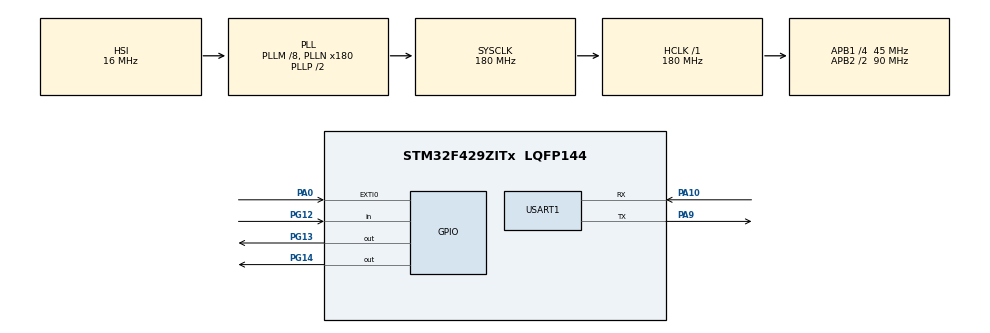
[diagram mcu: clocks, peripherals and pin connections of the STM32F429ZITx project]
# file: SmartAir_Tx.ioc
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FREERTOS.BinarySemaphores01=myBinarySem01,Dynamic,NULL,Available
FREERTOS.Mutexes01=myMutex01,Dynamic,NULL,Available
FREERTOS.Tasks01=defaultTask,0,128,StartDefaultTask,Default,NULL,Dynamic,NULL,NULL
FREERTOS.Timers01=myTimer01,Callback01,osTimerPeriodic,Default,NULL,Dynamic,NULL
FREERTOS.configUSE_NEWLIB_REENTRANT=1
FREERTOS.configUSE_TIMERS=1
Mcu.Family=STM32F4
Mcu.Name=STM32F429ZITx
Mcu.Package=LQFP144
NVIC.EXTI0_IRQn=true\:5\:0\:false\:false\:true\:true\:true\:true\:true
NVIC.PriorityGroup=NVIC_PRIORITYGROUP_4
PA0/WKUP.GPIO_PuPd=GPIO_PULLDOWN
PA0/WKUP.Signal=GPXTI0
PA10.Mode=Asynchronous
PA10.Signal=USART1_RX
PA9.Mode=Asynchronous
PA9.Signal=USART1_TX
PG12.Signal=GPIO_Input
PG13.Signal=GPIO_Output
PG14.Signal=GPIO_Output
ProjectManager.HeapSize=0x200
ProjectManager.StackSize=0x400
ProjectManager.TargetToolchain=STM32CubeIDE
RCC.48MHZClocksFreq_Value=90000000
RCC.AHBFreq_Value=180000000
RCC.APB1CLKDivider=RCC_HCLK_DIV4
RCC.APB1Freq_Value=45000000
RCC.APB1TimFreq_Value=90000000
RCC.APB2CLKDivider=RCC_HCLK_DIV2
RCC.APB2Freq_Value=90000000
RCC.APB2TimFreq_Value=180000000
RCC.CortexFreq_Value=180000000
RCC.HCLKFreq_Value=180000000
RCC.HSE_VALUE=25000000
RCC.HSI_VALUE=16000000
RCC.LSE_VALUE=32768
RCC.PLLM=8
RCC.PLLN=180
RCC.SYSCLKFreq_VALUE=180000000
RCC.SYSCLKSource=RCC_SYSCLKSOURCE_PLLCLK
RCC.VCOOutputFreq_Value=360000000
USART1.VirtualMode=VM_ASYNC
VP_FREERTOS_VS_CMSIS_V1.Mode=CMSIS_V1
board=custom

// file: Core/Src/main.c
/* USER CODE BEGIN Header */
/**
  ******************************************************************************
  * @file           : main.c
  * @brief          : Main program body
  ******************************************************************************
  * @attention
  *
  * Copyright (c) 2026 STMicroelectronics.
  * All rights reserved.
  *
  * This software is licensed under terms that can be found in the LICENSE file
  * in the root directory of this software component.
  * If no LICENSE file comes with this software, it is provided AS-IS.
  *
  ******************************************************************************
  */
/* USER CODE END Header */
#include "main.h"
#include "cmsis_os.h"

/* USER CODE BEGIN Includes */
#include<stdio.h>
#include<string.h>
#include "dht11.h"
/* USER CODE END Includes */

UART_HandleTypeDef huart1;

//osThreadId defaultTaskHandle;
//osTimerId myTimer01Handle;
//osMutexId myMutex01Handle;
//osSemaphoreId myBinarySem01Handle;
/* USER CODE BEGIN PV */
QueueHandle_t QueueHandle;

/* USER CODE END PV */

void SystemClock_Config(void);
static void MX_GPIO_Init(void);
static void MX_USART1_UART_Init(void);
void StartDefaultTask(void const * argument);
void Callback01(void const * argument);

void TimerTask(TimerHandle_t xTimer);
/* USER CODE BEGIN PFP */
void SensorTask(void *arg);
void PrintTask(void *arg);

SemaphoreHandle_t UART_Mutex;
SemaphoreHandle_t Timer_Sem;
TimerHandle_t TimerHandle;

/* USER CODE END PFP */

/* USER CODE BEGIN 0 */
int _write(int file, char *ptr, int len)
{
	HAL_UART_Transmit(&huart1,(uint8_t *)ptr,(uint16_t)len,HAL_MAX_DELAY);
	return len;
}

/* USER CODE END 0 */

int main(void)
{

  /* MCU Configuration--------------------------------------------------------*/

  /* Reset of all peripherals, Initializes the Flash interface and the Systick. */
  HAL_Init();

  /* Configure the system clock */
  SystemClock_Config();

  /* Initialize all configured peripherals */
  MX_GPIO_Init();
  MX_USART1_UART_Init();
  /* USER CODE BEGIN 2 */
  DWT_Delay_Init();

  TaskHandle_t SensorTaskHandle;
  TaskHandle_t PrintTaskHandle;

  QueueHandle = xQueueCreate(2,sizeof(uint8_t));

  xTaskCreate(SensorTask,"SensorTask",128,NULL,2,&SensorTaskHandle);
  xTaskCreate(PrintTask,"PrintTask",128,NULL,1,&PrintTaskHandle);

  UART_Mutex=xSemaphoreCreateMutex();
  Timer_Sem=xSemaphoreCreateBinary();
  TimerHandle=xTimerCreate("TimerTask", pdMS_TO_TICKS(3000), pdTRUE, 0, TimerTask);

  xTimerStart(TimerHandle,0);
  vTaskStartScheduler();

  /* USER CODE END 2 */

//  /* Create the mutex(es) */
//  /* definition and creation of myMutex01 */
//  osMutexDef(myMutex01);
//  myMutex01Handle = osMutexCreate(osMutex(myMutex01));
//
//  /* USER CODE BEGIN RTOS_MUTEX */
//  /* add mutexes, ... */
//  /* USER CODE END RTOS_MUTEX */
//
//  /* Create the semaphores(s) */
//  /* definition and creation of myBinarySem01 */
//  osSemaphoreDef(myBinarySem01);
//  myBinarySem01Handle = osSemaphoreCreate(osSemaphore(myBinarySem01), 1);
//
//  /* USER CODE BEGIN RTOS_SEMAPHORES */
//  /* add semaphores, ... */
//  /* USER CODE END RTOS_SEMAPHORES */
//
//  /* Create the timer(s) */
//  /* definition and creation of myTimer01 */
//  osTimerDef(myTimer01, Callback01);
//  myTimer01Handle = osTimerCreate(osTimer(myTimer01), osTimerPeriodic, NULL);
//
//  /* USER CODE BEGIN RTOS_TIMERS */
//  /* start timers, add new ones, ... */
//  /* USER CODE END RTOS_TIMERS */
//
//  /* USER CODE BEGIN RTOS_QUEUES */
//  /* add queues, ... */
//  /* USER CODE END RTOS_QUEUES */
//
//  /* Create the thread(s) */
//  /* definition and creation of defaultTask */
//  osThreadDef(defaultTask, StartDefaultTask, osPriorityNormal, 0, 128);
//  defaultTaskHandle = osThreadCreate(osThread(defaultTask), NULL);

  /* USER CODE BEGIN RTOS_THREADS */
//  /* add threads, ... */
  /* USER CODE END RTOS_THREADS */

  /* Start scheduler */
  //osKernelStart();

  /* We should never get here as control is now taken by the scheduler */

  /* Infinite loop */
  while (1)
  {

  }
}

void SystemClock_Config(void)
{
  RCC_OscInitTypeDef RCC_OscInitStruct = {0};
  RCC_ClkInitTypeDef RCC_ClkInitStruct = {0};

  /** Configure the main internal regulator output voltage
  */
  __HAL_RCC_PWR_CLK_ENABLE();
  __HAL_PWR_VOLTAGESCALING_CONFIG(PWR_REGULATOR_VOLTAGE_SCALE1);

  /** Initializes the RCC Oscillators according to the specified parameters
  * in the RCC_OscInitTypeDef structure.
  */
  RCC_OscInitStruct.OscillatorType = RCC_OSCILLATORTYPE_HSI;
  RCC_OscInitStruct.HSIState = RCC_HSI_ON;
  RCC_OscInitStruct.HSICalibrationValue = RCC_HSICALIBRATION_DEFAULT;
  RCC_OscInitStruct.PLL.PLLState = RCC_PLL_ON;
  RCC_OscInitStruct.PLL.PLLSource = RCC_PLLSOURCE_HSI;
  RCC_OscInitStruct.PLL.PLLM = 8;
  RCC_OscInitStruct.PLL.PLLN = 180;
  RCC_OscInitStruct.PLL.PLLP = RCC_PLLP_DIV2;
  RCC_OscInitStruct.PLL.PLLQ = 4;
  if (HAL_RCC_OscConfig(&RCC_OscInitStruct) != HAL_OK)
  {
    Error_Handler();
  }

  /** Activate the Over-Drive mode
  */
  if (HAL_PWREx_EnableOverDrive() != HAL_OK)
  {
    Error_Handler();
  }

  /** Initializes the CPU, AHB and APB buses clocks
  */
  RCC_ClkInitStruct.ClockType = RCC_CLOCKTYPE_HCLK|RCC_CLOCKTYPE_SYSCLK
                              |RCC_CLOCKTYPE_PCLK1|RCC_CLOCKTYPE_PCLK2;
  RCC_ClkInitStruct.SYSCLKSource = RCC_SYSCLKSOURCE_PLLCLK;
  RCC_ClkInitStruct.AHBCLKDivider = RCC_SYSCLK_DIV1;
  RCC_ClkInitStruct.APB1CLKDivider = RCC_HCLK_DIV4;
  RCC_ClkInitStruct.APB2CLKDivider = RCC_HCLK_DIV2;

  if (HAL_RCC_ClockConfig(&RCC_ClkInitStruct, FLASH_LATENCY_5) != HAL_OK)
  {
    Error_Handler();
  }
}

static void MX_USART1_UART_Init(void)
{

  huart1.Instance = USART1;
  huart1.Init.BaudRate = 115200;
  huart1.Init.WordLength = UART_WORDLENGTH_8B;
  huart1.Init.StopBits = UART_STOPBITS_1;
  huart1.Init.Parity = UART_PARITY_NONE;
  huart1.Init.Mode = UART_MODE_TX_RX;
  huart1.Init.HwFlowCtl = UART_HWCONTROL_NONE;
  huart1.Init.OverSampling = UART_OVERSAMPLING_16;
  if (HAL_UART_Init(&huart1) != HAL_OK)
  {
    Error_Handler();
  }

}

static void MX_GPIO_Init(void)
{
  GPIO_InitTypeDef GPIO_InitStruct = {0};

  /* GPIO Ports Clock Enable */
  __HAL_RCC_GPIOA_CLK_ENABLE();
  __HAL_RCC_GPIOG_CLK_ENABLE();

  /*Configure GPIO pin Output Level */
  HAL_GPIO_WritePin(GPIOG, GPIO_PIN_13|GPIO_PIN_14, GPIO_PIN_RESET);

  /*Configure GPIO pin : PA0 */
  GPIO_InitStruct.Pin = GPIO_PIN_0;
  GPIO_InitStruct.Mode = GPIO_MODE_IT_RISING;
  GPIO_InitStruct.Pull = GPIO_PULLDOWN;
  HAL_GPIO_Init(GPIOA, &GPIO_InitStruct);

  /*Configure GPIO pin : PG12 */
  GPIO_InitStruct.Pin = GPIO_PIN_12;
  GPIO_InitStruct.Mode = GPIO_MODE_INPUT;
  GPIO_InitStruct.Pull = GPIO_NOPULL;
  HAL_GPIO_Init(GPIOG, &GPIO_InitStruct);

  /*Configure GPIO pins : PG13 PG14 */
  GPIO_InitStruct.Pin = GPIO_PIN_13|GPIO_PIN_14;
  GPIO_InitStruct.Mode = GPIO_MODE_OUTPUT_PP;
  GPIO_InitStruct.Pull = GPIO_NOPULL;
  GPIO_InitStruct.Speed = GPIO_SPEED_FREQ_LOW;
  HAL_GPIO_Init(GPIOG, &GPIO_InitStruct);

  /* EXTI interrupt init*/
  HAL_NVIC_SetPriority(EXTI0_IRQn, 5, 0);
  HAL_NVIC_EnableIRQ(EXTI0_IRQn);

}

/* USER CODE BEGIN 4 */
DHT11_Data_t data;

void SensorTask(void *arg)
{

	for(;;){
		Read_Temp_Hum(&data);
		xSemaphoreTake(Timer_Sem,portMAX_DELAY);
		xQueueSend(QueueHandle, &data.temperature,portMAX_DELAY);
		xQueueSend(QueueHandle, &data.humidity,portMAX_DELAY);

		//vTaskDelay(pdMS_TO_TICKS(1000));
	}
}
void PrintTask(void *arg)
{
	uint8_t temp,hum;
	for(;;){

		xQueueReceive(QueueHandle, &temp,portMAX_DELAY);
		xQueueReceive(QueueHandle, &hum,portMAX_DELAY);
		xSemaphoreTake(UART_Mutex,portMAX_DELAY);
		printf("Temperature -> %d\r\n",temp);
		printf("Humidity -> %d\r\n",hum);
		xSemaphoreGive(UART_Mutex);

	}
}
void TimerTask(TimerHandle_t xTimer){
	xSemaphoreGive(Timer_Sem);
}
/* USER CODE END 4 */

//void StartDefaultTask(void const * argument)
//{
  /* USER CODE BEGIN 5 */
//  /* Infinite loop */
//  for(;;)
//  {
//    osDelay(1);
//  }
  /* USER CODE END 5 */
//}

/* Callback01 function */
void Callback01(void const * argument)
{
}

void Error_Handler(void)
{
  __disable_irq();
  while (1)
  {
  }
}
